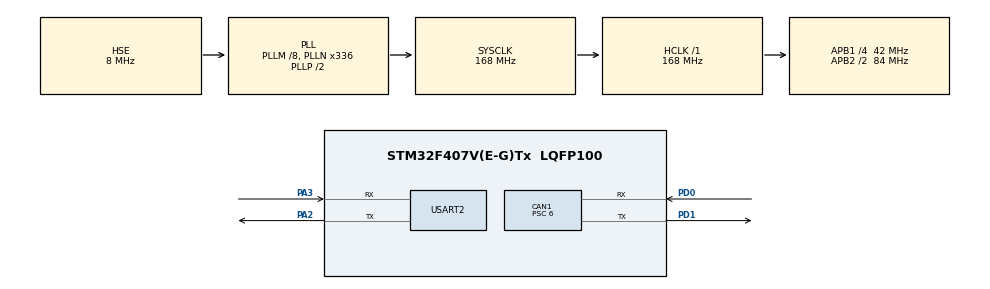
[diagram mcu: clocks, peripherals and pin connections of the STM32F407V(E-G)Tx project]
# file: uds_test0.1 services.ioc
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CAN1.BS1=CAN_BS1_11TQ
CAN1.BS2=CAN_BS2_2TQ
CAN1.CalculateBaudRate=500000
CAN1.CalculateTimeBit=2000
CAN1.CalculateTimeQuantum=142.85714285714286
CAN1.NART=ENABLE
CAN1.Prescaler=6
CAN1.RFLM=DISABLE
Mcu.Family=STM32F4
Mcu.Name=STM32F407V(E-G)Tx
Mcu.Package=LQFP100
NVIC.CAN1_RX0_IRQn=true\:0\:0\:false\:false\:true\:true\:true\:true
NVIC.PriorityGroup=NVIC_PRIORITYGROUP_0
NVIC.USART2_IRQn=true\:0\:0\:false\:false\:true\:true\:true\:true
PA2.Mode=Asynchronous
PA2.Signal=USART2_TX
PA3.Mode=Asynchronous
PA3.Signal=USART2_RX
PD0.Mode=CAN_Activate
PD0.Signal=CAN1_RX
PD1.Mode=CAN_Activate
PD1.Signal=CAN1_TX
PH0-OSC_IN.Mode=HSE-External-Oscillator
PH0-OSC_IN.Signal=RCC_OSC_IN
PH1-OSC_OUT.Mode=HSE-External-Oscillator
PH1-OSC_OUT.Signal=RCC_OSC_OUT
ProjectManager.HeapSize=0x200
ProjectManager.StackSize=0x400
ProjectManager.TargetToolchain=STM32CubeIDE
RCC.48MHZClocksFreq_Value=48000000
RCC.AHBFreq_Value=168000000
RCC.APB1CLKDivider=RCC_HCLK_DIV4
RCC.APB1Freq_Value=42000000
RCC.APB1TimFreq_Value=84000000
RCC.APB2CLKDivider=RCC_HCLK_DIV2
RCC.APB2Freq_Value=84000000
RCC.APB2TimFreq_Value=168000000
RCC.CortexFreq_Value=168000000
RCC.HCLKFreq_Value=168000000
RCC.HSE_VALUE=8000000
RCC.HSI_VALUE=16000000
RCC.PLLM=8
RCC.PLLN=336
RCC.PLLQ=7
RCC.PLLSourceVirtual=RCC_PLLSOURCE_HSE
RCC.SYSCLKFreq_VALUE=168000000
RCC.SYSCLKSource=RCC_SYSCLKSOURCE_PLLCLK
RCC.VCOOutputFreq_Value=336000000
USART2.VirtualMode=VM_ASYNC
board=STM32F407G-DISC1

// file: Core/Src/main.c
/* USER CODE BEGIN Header */
/**
  ******************************************************************************
  * @file           : main.c
  * @brief          : Main program body
  ******************************************************************************
  * @attention
  *
  * Copyright (c) 2025 STMicroelectronics.
  * All rights reserved.
  *
  * This software is licensed under terms that can be found in the LICENSE file
  * in the root directory of this software component.
  * If no LICENSE file comes with this software, it is provided AS-IS.
  *
  ******************************************************************************
  */
/* USER CODE END Header */
#include "main.h"

/* USER CODE BEGIN Includes */
#include <string.h>
#include <stdio.h>
#include "stm32f4xx_hal.h"
#include "uds_services.h"
#include "uds_services_handler_disptcher.h"
/* USER CODE END Includes */
// 123456

CAN_HandleTypeDef hcan1;

UART_HandleTypeDef huart2;
CAN_RxHeaderTypeDef RxHeader;

uint8_t suppress;
extern uint8_t request_session;

void SystemClock_Config(void);
static void MX_GPIO_Init(void);
static void MX_CAN1_Init(void);
static void MX_USART2_UART_Init(void);
void CAN_Filter_Config(void);

int main(void)
{

  /* MCU Configuration--------------------------------------------------------*/

  /* Reset of all peripherals, Initializes the Flash interface and the Systick. */
  HAL_Init();

  /* Configure the system clock */
  SystemClock_Config();

  /* Initialize all configured peripherals */
  MX_GPIO_Init();
  MX_CAN1_Init();
  MX_USART2_UART_Init();
  /* USER CODE BEGIN 2 */
  CAN_Filter_Config();
  // Send a test message via UART
    const char *test_msg = "UART Initialized Successfully!\r\n";
    HAL_UART_Transmit(&huart2, (uint8_t*)test_msg, strlen(test_msg), HAL_MAX_DELAY);

    // Enable notifications for CAN interrupts
    if (HAL_CAN_ActivateNotification(&hcan1, CAN_IT_RX_FIFO0_MSG_PENDING | CAN_IT_TX_MAILBOX_EMPTY) != HAL_OK)
    {
        Error_handler();
    }

    // Start the CAN module
    if (HAL_CAN_Start(&hcan1) != HAL_OK)
    {
        Error_handler();
    }

  /* USER CODE END 2 */

  /* Infinite loop */
  while (1)
  {

    /* USER CODE BEGIN 3 */
	 can_tp_tx_task();
  }
  /* USER CODE END 3 */
}

void SystemClock_Config(void)
{
  RCC_OscInitTypeDef RCC_OscInitStruct = {0};
  RCC_ClkInitTypeDef RCC_ClkInitStruct = {0};

  /** Configure the main internal regulator output voltage
  */
  __HAL_RCC_PWR_CLK_ENABLE();
  __HAL_PWR_VOLTAGESCALING_CONFIG(PWR_REGULATOR_VOLTAGE_SCALE1);

  /** Initializes the RCC Oscillators according to the specified parameters
  * in the RCC_OscInitTypeDef structure.
  */
  RCC_OscInitStruct.OscillatorType = RCC_OSCILLATORTYPE_HSE;
  RCC_OscInitStruct.HSEState = RCC_HSE_ON;
  RCC_OscInitStruct.PLL.PLLState = RCC_PLL_ON;
  RCC_OscInitStruct.PLL.PLLSource = RCC_PLLSOURCE_HSE;
  RCC_OscInitStruct.PLL.PLLM = 8;
  RCC_OscInitStruct.PLL.PLLN = 336;
  RCC_OscInitStruct.PLL.PLLP = RCC_PLLP_DIV2;
  RCC_OscInitStruct.PLL.PLLQ = 7;
  if (HAL_RCC_OscConfig(&RCC_OscInitStruct) != HAL_OK)
  {
    Error_handler();
  }

  /** Initializes the CPU, AHB and APB buses clocks
  */
  RCC_ClkInitStruct.ClockType = RCC_CLOCKTYPE_HCLK|RCC_CLOCKTYPE_SYSCLK
                              |RCC_CLOCKTYPE_PCLK1|RCC_CLOCKTYPE_PCLK2;
  RCC_ClkInitStruct.SYSCLKSource = RCC_SYSCLKSOURCE_PLLCLK;
  RCC_ClkInitStruct.AHBCLKDivider = RCC_SYSCLK_DIV1;
  RCC_ClkInitStruct.APB1CLKDivider = RCC_HCLK_DIV4;
  RCC_ClkInitStruct.APB2CLKDivider = RCC_HCLK_DIV2;

  if (HAL_RCC_ClockConfig(&RCC_ClkInitStruct, FLASH_LATENCY_5) != HAL_OK)
  {
    Error_handler();
  }
}

static void MX_CAN1_Init(void)
{

  hcan1.Instance = CAN1;
  hcan1.Init.Prescaler = 6;
  hcan1.Init.Mode = CAN_MODE_NORMAL;
  hcan1.Init.SyncJumpWidth = CAN_SJW_1TQ;
  hcan1.Init.TimeSeg1 = CAN_BS1_11TQ;
  hcan1.Init.TimeSeg2 = CAN_BS2_2TQ;
  hcan1.Init.TimeTriggeredMode = DISABLE;
  hcan1.Init.AutoBusOff = DISABLE;
  hcan1.Init.AutoWakeUp = DISABLE;
  hcan1.Init.AutoRetransmission = ENABLE;
  hcan1.Init.ReceiveFifoLocked = DISABLE;
  hcan1.Init.TransmitFifoPriority = DISABLE;
  if (HAL_CAN_Init(&hcan1) != HAL_OK)
  {
    Error_handler();
  }

}

static void MX_USART2_UART_Init(void)
{

  huart2.Instance = USART2;
  huart2.Init.BaudRate = 115200;
  huart2.Init.WordLength = UART_WORDLENGTH_8B;
  huart2.Init.StopBits = UART_STOPBITS_1;
  huart2.Init.Parity = UART_PARITY_NONE;
  huart2.Init.Mode = UART_MODE_TX_RX;
  huart2.Init.HwFlowCtl = UART_HWCONTROL_NONE;
  huart2.Init.OverSampling = UART_OVERSAMPLING_16;
  if (HAL_UART_Init(&huart2) != HAL_OK)
  {
    Error_handler();
  }

}

static void MX_GPIO_Init(void)
{

  /* GPIO Ports Clock Enable */
  __HAL_RCC_GPIOH_CLK_ENABLE();
  __HAL_RCC_GPIOA_CLK_ENABLE();
  __HAL_RCC_GPIOD_CLK_ENABLE();

}

/* USER CODE BEGIN 4 */
void CAN_Filter_Config(void)
{
    CAN_FilterTypeDef can1_filter_init;

    can1_filter_init.FilterActivation = ENABLE;
    can1_filter_init.FilterBank = 0;
    can1_filter_init.FilterFIFOAssignment = CAN_RX_FIFO0;
    can1_filter_init.FilterIdHigh = 0x0000;
    can1_filter_init.FilterIdLow = 0x0000;
    can1_filter_init.FilterMaskIdHigh = 0X01C0;
    can1_filter_init.FilterMaskIdLow = 0x0000;
    can1_filter_init.FilterMode = CAN_FILTERMODE_IDMASK;
    can1_filter_init.FilterScale = CAN_FILTERSCALE_32BIT;

    if (HAL_CAN_ConfigFilter(&hcan1, &can1_filter_init) != HAL_OK)
    {
        Error_handler();
    }
}

/* Function to send messages via UART */
void UART2_Send(const char* message)
{
    HAL_UART_Transmit(&huart2, (uint8_t*)message, strlen(message), HAL_MAX_DELAY);
}
void HAL_CAN_RxFifo0MsgPendingCallback(CAN_HandleTypeDef *hcan)
{
    uint8_t rcvd_msg[8];

    if (HAL_CAN_GetRxMessage(hcan, CAN_RX_FIFO0, &RxHeader, rcvd_msg) == HAL_OK)
    {
    	// Construction of the message to send via UART
        char msg[100];
        sprintf(msg, "Message CAN re�u: ID=0x%lX, Data=[%d, %d, %d, %d, %d, %d, %d, %d]\n",
                (unsigned long)RxHeader.StdId, rcvd_msg[0], rcvd_msg[1], rcvd_msg[2], rcvd_msg[3], rcvd_msg[4], rcvd_msg[5], rcvd_msg[6], rcvd_msg[7]);

        // Send the UART message
        UART2_Send(msg);
        if(RxHeader.StdId == 0x600)
        {
        	if(rcvd_msg[1] == 0x04)
        	{
        		uint8_t message[8] = {0};
        		message[0]=uds_session.current_session;
        		CAN_TxHeaderTypeDef TxHeader;
        		uint32_t TxMailbox;

        		TxHeader.DLC = 8;
        		TxHeader.StdId = 0x608; // Standard UDS identifier for the ECU
        		TxHeader.IDE = CAN_ID_STD;
        		TxHeader.RTR = CAN_RTR_DATA;

        		if (HAL_CAN_AddTxMessage(&hcan1, &TxHeader, message, &TxMailbox) != HAL_OK) {
        			// Handle the sending error
        			Error_handler();
        		}
        	}
        }
        else if(RxHeader.StdId == 0x7E0 || RxHeader.StdId == 0x7DF)
        {
        	uint8_t frametype=((rcvd_msg[0] & 0xf0)>>4);
        	uint8_t len = rcvd_msg[0] & 0x0F;
        	if(frametype == 0x0)
        	{
        		uds_services_handler_disptcher(&rcvd_msg[1], len);
        	}
        	else
        	{
        	    //CAN_TP request (eg: FF,FC,CF)
        		can_tp_receive_isr(RxHeader.StdId, rcvd_msg, len);

        	}
        }
    }
}
void HAL_CAN_TxMailbox0CompleteCallback(CAN_HandleTypeDef *hcan)
{
    char msg[50];
    sprintf(msg, "Message Transmitted:M0\r\n");
    HAL_UART_Transmit(&huart2, (uint8_t*)msg, strlen(msg), HAL_MAX_DELAY);
}

/* USER CODE END 4 */

extern void Error_handler(void)
{
  __disable_irq();
  while (1)
  {
  }
}
